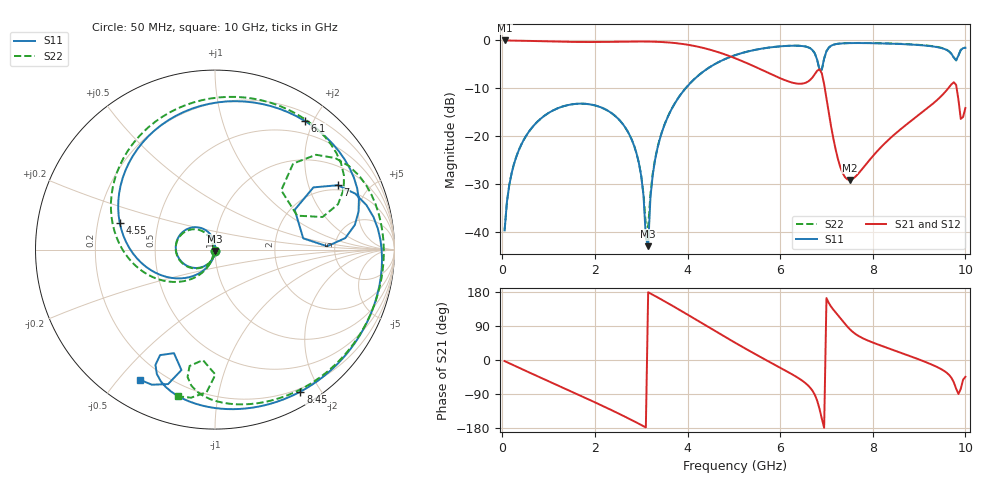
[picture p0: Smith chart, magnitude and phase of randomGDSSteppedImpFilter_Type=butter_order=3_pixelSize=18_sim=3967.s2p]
! freq	dB(S11)	phase(S11)	dB(S12)	phase(S12)
!  dB(S21)	phase(S21)	dB(S22)	phase(S22)
!S-par simulation data
#  GHz  S  DB  R 50
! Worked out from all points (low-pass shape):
!   200 points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, 50 MHz to 10 GHz, reference 50 ohm
!   highest |S21| = -0.01 dB at 50 MHz (marker M1); lowest = -29.1 dB at 7.5 GHz (marker M2)
!   |S21| within 3 dB of the highest: start of sweep to 4.832 GHz
!   lowest |S11| = -42.9 dB at 3.15 GHz (marker M3), VSWR 1.01, Z = 50.1 - j0.712 ohm
!   |S11| at or under -10 dB: start of sweep to 3.957 GHz
!   |S22| runs from -39.6 to -0.5 dB; largest |S21 - S12| = 0
!   S11 on the Smith chart (normalised r, x): 50 MHz: 1.00, -0.02; 4.55 GHz: 0.29, +0.13; 6.1 GHz: 0.31, +1.87; 7 GHz: 1.77, +3.14; 8.45 GHz: 0.16, -1.76; 10 GHz: 0.12, -0.57
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0.05  -39.63 -92.1  -0.01 -2.9  -0.01 -2.9  -39.63 -92.1
0.2  -27.75 -101.5  -0.03 -11.4  -0.03 -11.4  -27.76 -101.1
0.5  -20.13 -119.1  -0.08 -28.3  -0.08 -28.3  -20.13 -118.3
1.75  -13.19 170.1  -0.33 -97.7  -0.33 -97.7  -13.19 173.5
2.8  -20.80 107.4  -0.24 -158.8  -0.24 -158.8  -20.80 116.9
3  -28.30 93.9  -0.23 -171.5  -0.23 -171.5  -28.20 111.7
3.15  -42.91 -83.7  -0.24 178.8  -0.24 178.8  -38.97 -138.5
3.25  -27.95 -100.6  -0.26 172.2  -0.26 172.2  -27.67 -108.2
3.4  -20.62 -111.5  -0.31 162.1  -0.31 162.1  -20.53 -111.4
4  -9.52 -154.9  -0.89 119.8  -0.89 119.8  -9.50 -148.9
4.55  -5.16 164.2  -2.11 79.8  -2.11 79.8  -5.15 172.9
5.05  -3.00 127.5  -3.80 44.0  -3.80 44.0  -2.99 138.3
6.1  -1.17 55.2  -8.28 -27.0  -8.28 -27.0  -1.16 69.3
6.7  -2.03 10.0  -7.70 -81.4  -7.70 -81.4  -2.02 25.2
6.9  -6.08 26.5  -6.87 -154.9  -6.87 -154.9  -6.10 41.8
7  -2.25 27.7  -12.11 163.3  -12.11 163.3  -2.25 43.2
7.5  -0.56 -12.3  -29.11 81.8  -29.11 81.8  -0.54 3.4
8.35  -0.66 -54.4  -20.64 30.3  -20.64 30.3  -0.63 -39.0
8.45  -0.69 -59.0  -19.76 26.0  -19.76 26.0  -0.66 -43.5
9.75  -3.57 -117.5  -8.72 -58.8  -8.72 -58.8  -3.56 -102.3
9.9  -2.01 -109.2  -16.37 -76.2  -16.37 -76.2  -1.98 -93.4
10  -1.54 -120.1  -14.09 -44.3  -14.09 -44.3  -1.48 -104.2
